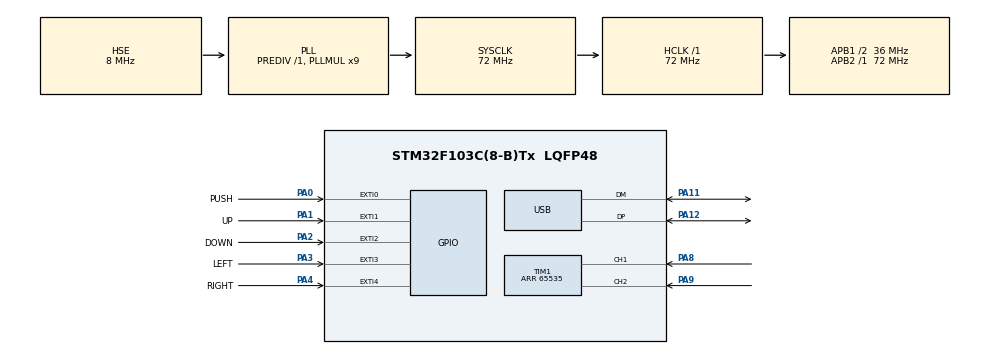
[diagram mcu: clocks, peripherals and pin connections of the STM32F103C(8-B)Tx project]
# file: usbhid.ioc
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Mcu.Family=STM32F1
Mcu.Name=STM32F103C(8-B)Tx
Mcu.Package=LQFP48
NVIC.EXTI0_IRQn=true\:0\:0\:false\:false\:true\:true\:true
NVIC.EXTI1_IRQn=true\:0\:0\:false\:false\:true\:true\:true
NVIC.EXTI2_IRQn=true\:0\:0\:false\:false\:true\:true\:true
NVIC.EXTI3_IRQn=true\:0\:0\:false\:false\:true\:true\:true
NVIC.EXTI4_IRQn=true\:0\:0\:false\:false\:true\:true\:true
NVIC.PriorityGroup=NVIC_PRIORITYGROUP_4
NVIC.USB_LP_CAN1_RX0_IRQn=true\:0\:0\:false\:false\:true\:false\:true
PA0-WKUP.GPIO_Label=PUSH
PA0-WKUP.GPIO_ModeDefaultEXTI=GPIO_MODE_IT_FALLING
PA0-WKUP.GPIO_PuPd=GPIO_PULLUP
PA0-WKUP.Signal=GPXTI0
PA1.GPIO_Label=UP
PA1.GPIO_ModeDefaultEXTI=GPIO_MODE_IT_FALLING
PA1.GPIO_PuPd=GPIO_PULLUP
PA1.Signal=GPXTI1
PA11.Mode=Device
PA11.Signal=USB_DM
PA12.Mode=Device
PA12.Signal=USB_DP
PA13.Mode=Serial_Wire
PA13.Signal=SYS_JTMS-SWDIO
PA14.Mode=Serial_Wire
PA14.Signal=SYS_JTCK-SWCLK
PA2.GPIO_Label=DOWN
PA2.GPIO_ModeDefaultEXTI=GPIO_MODE_IT_FALLING
PA2.GPIO_PuPd=GPIO_PULLUP
PA2.Signal=GPXTI2
PA3.GPIO_Label=LEFT
PA3.GPIO_ModeDefaultEXTI=GPIO_MODE_IT_FALLING
PA3.GPIO_PuPd=GPIO_PULLUP
PA3.Signal=GPXTI3
PA4.GPIO_Label=RIGHT
PA4.GPIO_ModeDefaultEXTI=GPIO_MODE_IT_FALLING
PA4.GPIO_PuPd=GPIO_PULLUP
PA4.Signal=GPXTI4
PA8.GPIO_PuPd=GPIO_PULLUP
PA8.Signal=S_TIM1_CH1
PA9.GPIO_PuPd=GPIO_PULLUP
PA9.Signal=S_TIM1_CH2
PC14-OSC32_IN.Mode=LSE-External-Oscillator
PC14-OSC32_IN.Signal=RCC_OSC32_IN
PC15-OSC32_OUT.Mode=LSE-External-Oscillator
PC15-OSC32_OUT.Signal=RCC_OSC32_OUT
PD0-OSC_IN.Mode=HSE-External-Oscillator
PD0-OSC_IN.Signal=RCC_OSC_IN
PD1-OSC_OUT.Mode=HSE-External-Oscillator
PD1-OSC_OUT.Signal=RCC_OSC_OUT
ProjectManager.HeapSize=0x200
ProjectManager.StackSize=0x400
ProjectManager.TargetToolchain=STM32CubeIDE
RCC.AHBFreq_Value=72000000
RCC.APB1CLKDivider=RCC_HCLK_DIV2
RCC.APB1Freq_Value=36000000
RCC.APB1TimFreq_Value=72000000
RCC.APB2Freq_Value=72000000
RCC.APB2TimFreq_Value=72000000
RCC.HCLKFreq_Value=72000000
RCC.PLLMUL=RCC_PLL_MUL9
RCC.SYSCLKFreq_VALUE=72000000
RCC.SYSCLKSource=RCC_SYSCLKSOURCE_PLLCLK
RCC.USBFreq_Value=48000000
RCC.USBPrescaler=RCC_USBCLKSOURCE_PLL_DIV1_5
SH.S_TIM1_CH1.0=TIM1_CH1,Encoder_Interface
SH.S_TIM1_CH2.0=TIM1_CH2,Encoder_Interface
TIM1.EncoderMode=TIM_ENCODERMODE_TI12
TIM1.IC1Filter=15
TIM1.IC1Polarity=TIM_ICPOLARITY_RISING
TIM1.IC2Filter=15
TIM1.IC2Polarity=TIM_ICPOLARITY_RISING
TIM1.Period=65535
USB_DEVICE.CLASS_NAME_FS=HID
USB_DEVICE.VirtualMode=Hid
USB_DEVICE.VirtualModeFS=Hid_FS
VP_USB_DEVICE_VS_USB_DEVICE_HID_FS.Mode=HID_FS
board=custom

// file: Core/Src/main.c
/* USER CODE BEGIN Header */
/**
  ******************************************************************************
  * @file           : main.c
  * @brief          : Main program body
  ******************************************************************************
  * @attention
  *
  * <h2><center>&copy; Copyright (c) 2020 STMicroelectronics.
  * All rights reserved.</center></h2>
  *
  * This software component is licensed by ST under BSD 3-Clause license,
  * the "License"; You may not use this file except in compliance with the
  * License. You may obtain a copy of the License at:
  *                        opensource.org/licenses/BSD-3-Clause
  *
  ******************************************************************************
  */
/* USER CODE END Header */

#include "main.h"
#include "usb_device.h"

/* USER CODE BEGIN Includes */
#include "usbd_hid.h"
/* USER CODE END Includes */

/* USER CODE BEGIN PD */
#define HID_REPORT_SIZE 3

#define BUTTON_DEBOUNCE_DELAY_MS 50

//BUTTON DEFINES http://www2.ece.rochester.edu/~parihar/pres/Report_MultiMedia-KB.pdf page11

#define MEDIA_MUTE 0
#define MEDIA_VOLUP 1
#define MEDIA_VOLDOWN 2
#define MEDIA_PLAY_PAUSE 3
#define MEDIA_STOP 4
#define MEDIA_PREV 5
#define MEDIA_NEXT 6
/* USER CODE END PD */

TIM_HandleTypeDef htim1;

/* USER CODE BEGIN PV */
extern USBD_HandleTypeDef hUsbDeviceFS;
uint8_t HID_report[HID_REPORT_SIZE] = {0x01,0,0}; //empty hid report

uint16_t encoderCount=32766; //half of timers resolution (16bit)
uint16_t lastEncoderCount=16383;

uint8_t buttonDebounceDelay=0; //delay between checking button states (button debouncing)
/* USER CODE END PV */

void SystemClock_Config(void);
static void MX_GPIO_Init(void);
static void MX_TIM1_Init(void);
/* USER CODE BEGIN PFP */
void HAL_GPIO_EXTI_Callback(uint16_t GPIO_Pin);

//void USB_Send_Button_Press(uint8_t button);
void CheckButtonsState();
void SetKeyPress(uint8_t key);

/* USER CODE END PFP */

int main(void)
{

  /* MCU Configuration--------------------------------------------------------*/

  /* Reset of all peripherals, Initializes the Flash interface and the Systick. */
  HAL_Init();

  /* Configure the system clock */
  SystemClock_Config();

  /* Initialize all configured peripherals */
  MX_GPIO_Init();
  MX_USB_DEVICE_Init();
  MX_TIM1_Init();
  /* USER CODE BEGIN 2 */

  HAL_TIM_Encoder_Start(&htim1, TIM_CHANNEL_ALL);
  __HAL_TIM_SET_COUNTER(&htim1,encoderCount);

  /* USER CODE END 2 */

  /* Infinite loop */
  /* USER CODE BEGIN WHILE */
  while (1)
  {
	  HID_report[1]=0; //0 means none of the buttons pressed

	  ////THIS CODE CAN SUPPORT ONLY 1 KEY AT A TIME, AND VERY SLOW REPEAT WITH LONG PRESS////

	  CheckButtonsState(); //check if any button is pressed and set appropriate bits in HID_report[1]
	  if(HID_report[1]!=0){
		  USBD_HID_SendReport(&hUsbDeviceFS, HID_report, HID_REPORT_SIZE); //send key-press and after 15 ms key-release reports
		  HAL_Delay(400);
		  HID_report[1]=0;
		  USBD_HID_SendReport(&hUsbDeviceFS, HID_report, HID_REPORT_SIZE);
		  HAL_Delay(15);
	  }

	  encoderCount=__HAL_TIM_GET_COUNTER(&htim1)/2; //get encoder absolute position
	  if(encoderCount!=lastEncoderCount){
		  if(encoderCount<lastEncoderCount){SetKeyPress(MEDIA_VOLDOWN);lastEncoderCount-=1;}  //set key press depending on encoder movement direction
		  else{SetKeyPress(MEDIA_VOLUP);lastEncoderCount+=1;}

		  USBD_HID_SendReport(&hUsbDeviceFS, HID_report, HID_REPORT_SIZE);
		  HAL_Delay(15);
		  HID_report[1]=0;
		  USBD_HID_SendReport(&hUsbDeviceFS, HID_report, HID_REPORT_SIZE);
		  HAL_Delay(15);
	  }

	  HAL_Delay(1);

	  /* USER CODE END WHILE */

  }
}

void SystemClock_Config(void)
{
  RCC_OscInitTypeDef RCC_OscInitStruct = {0};
  RCC_ClkInitTypeDef RCC_ClkInitStruct = {0};
  RCC_PeriphCLKInitTypeDef PeriphClkInit = {0};

  /** Initializes the CPU, AHB and APB busses clocks
  */
  RCC_OscInitStruct.OscillatorType = RCC_OSCILLATORTYPE_HSE;
  RCC_OscInitStruct.HSEState = RCC_HSE_ON;
  RCC_OscInitStruct.HSEPredivValue = RCC_HSE_PREDIV_DIV1;
  RCC_OscInitStruct.HSIState = RCC_HSI_ON;
  RCC_OscInitStruct.PLL.PLLState = RCC_PLL_ON;
  RCC_OscInitStruct.PLL.PLLSource = RCC_PLLSOURCE_HSE;
  RCC_OscInitStruct.PLL.PLLMUL = RCC_PLL_MUL9;
  if (HAL_RCC_OscConfig(&RCC_OscInitStruct) != HAL_OK)
  {
    Error_Handler();
  }
  /** Initializes the CPU, AHB and APB busses clocks
  */
  RCC_ClkInitStruct.ClockType = RCC_CLOCKTYPE_HCLK|RCC_CLOCKTYPE_SYSCLK
                              |RCC_CLOCKTYPE_PCLK1|RCC_CLOCKTYPE_PCLK2;
  RCC_ClkInitStruct.SYSCLKSource = RCC_SYSCLKSOURCE_PLLCLK;
  RCC_ClkInitStruct.AHBCLKDivider = RCC_SYSCLK_DIV1;
  RCC_ClkInitStruct.APB1CLKDivider = RCC_HCLK_DIV2;
  RCC_ClkInitStruct.APB2CLKDivider = RCC_HCLK_DIV1;

  if (HAL_RCC_ClockConfig(&RCC_ClkInitStruct, FLASH_LATENCY_2) != HAL_OK)
  {
    Error_Handler();
  }
  PeriphClkInit.PeriphClockSelection = RCC_PERIPHCLK_USB;
  PeriphClkInit.UsbClockSelection = RCC_USBCLKSOURCE_PLL_DIV1_5;
  if (HAL_RCCEx_PeriphCLKConfig(&PeriphClkInit) != HAL_OK)
  {
    Error_Handler();
  }
}

static void MX_TIM1_Init(void)
{

  TIM_Encoder_InitTypeDef sConfig = {0};
  TIM_MasterConfigTypeDef sMasterConfig = {0};

  htim1.Instance = TIM1;
  htim1.Init.Prescaler = 0;
  htim1.Init.CounterMode = TIM_COUNTERMODE_UP;
  htim1.Init.Period = 65535;
  htim1.Init.ClockDivision = TIM_CLOCKDIVISION_DIV1;
  htim1.Init.RepetitionCounter = 0;
  htim1.Init.AutoReloadPreload = TIM_AUTORELOAD_PRELOAD_DISABLE;
  sConfig.EncoderMode = TIM_ENCODERMODE_TI12;
  sConfig.IC1Polarity = TIM_ICPOLARITY_RISING;
  sConfig.IC1Selection = TIM_ICSELECTION_DIRECTTI;
  sConfig.IC1Prescaler = TIM_ICPSC_DIV1;
  sConfig.IC1Filter = 15;
  sConfig.IC2Polarity = TIM_ICPOLARITY_RISING;
  sConfig.IC2Selection = TIM_ICSELECTION_DIRECTTI;
  sConfig.IC2Prescaler = TIM_ICPSC_DIV1;
  sConfig.IC2Filter = 15;
  if (HAL_TIM_Encoder_Init(&htim1, &sConfig) != HAL_OK)
  {
    Error_Handler();
  }
  sMasterConfig.MasterOutputTrigger = TIM_TRGO_RESET;
  sMasterConfig.MasterSlaveMode = TIM_MASTERSLAVEMODE_DISABLE;
  if (HAL_TIMEx_MasterConfigSynchronization(&htim1, &sMasterConfig) != HAL_OK)
  {
    Error_Handler();
  }

}

static void MX_GPIO_Init(void)
{
  GPIO_InitTypeDef GPIO_InitStruct = {0};

  /* GPIO Ports Clock Enable */
  __HAL_RCC_GPIOC_CLK_ENABLE();
  __HAL_RCC_GPIOD_CLK_ENABLE();
  __HAL_RCC_GPIOA_CLK_ENABLE();

  /*Configure GPIO pins : PUSH_Pin UP_Pin DOWN_Pin LEFT_Pin
                           RIGHT_Pin */
  GPIO_InitStruct.Pin = PUSH_Pin|UP_Pin|DOWN_Pin|LEFT_Pin
                          |RIGHT_Pin;
  GPIO_InitStruct.Mode = GPIO_MODE_IT_FALLING;
  GPIO_InitStruct.Pull = GPIO_PULLUP;
  HAL_GPIO_Init(GPIOA, &GPIO_InitStruct);

  /* EXTI interrupt init*/
  HAL_NVIC_SetPriority(EXTI0_IRQn, 0, 0);
  HAL_NVIC_EnableIRQ(EXTI0_IRQn);

  HAL_NVIC_SetPriority(EXTI1_IRQn, 0, 0);
  HAL_NVIC_EnableIRQ(EXTI1_IRQn);

  HAL_NVIC_SetPriority(EXTI2_IRQn, 0, 0);
  HAL_NVIC_EnableIRQ(EXTI2_IRQn);

  HAL_NVIC_SetPriority(EXTI3_IRQn, 0, 0);
  HAL_NVIC_EnableIRQ(EXTI3_IRQn);

  HAL_NVIC_SetPriority(EXTI4_IRQn, 0, 0);
  HAL_NVIC_EnableIRQ(EXTI4_IRQn);

}

/* USER CODE BEGIN 4 */
void HAL_GPIO_EXTI_Callback(uint16_t GPIO_Pin){

}
/*
void USB_Send_Button_Press(uint8_t button){
	HID_report[1] |= 1<<button; // media next http://www2.ece.rochester.edu/~parihar/pres/Report_MultiMedia-KB.pdf page11
	USBD_HID_SendReport(&hUsbDeviceFS, HID_report, HID_REPORT_SIZE);
	HAL_Delay(15);
	HID_report[1] &= ~(1<< button);
	USBD_HID_SendReport(&hUsbDeviceFS, HID_report, HID_REPORT_SIZE);
	HAL_Delay(15);
}*/
void SetKeyPress(uint8_t key){
	HID_report[1] |= 1<<key;
}

void SetKeyRelease(uint8_t key){
	HID_report[1] &= ~(1<< key);
}
void CheckButtonsState(){
	if(!HAL_GPIO_ReadPin(PUSH_GPIO_Port, PUSH_Pin))	{ 							//push input is low when whichever button is pressed
		uint8_t isPushPressed=1;
		if(!HAL_GPIO_ReadPin(RIGHT_GPIO_Port, RIGHT_Pin))	{SetKeyPress(MEDIA_NEXT); isPushPressed=0; }
		if(!HAL_GPIO_ReadPin(LEFT_GPIO_Port, LEFT_Pin))		{SetKeyPress(MEDIA_PREV); isPushPressed=0; }
		if(!HAL_GPIO_ReadPin(UP_GPIO_Port, UP_Pin))			{SetKeyPress(MEDIA_MUTE); isPushPressed=0; }
		if(!HAL_GPIO_ReadPin(DOWN_GPIO_Port, DOWN_Pin))		{SetKeyPress(MEDIA_STOP); isPushPressed=0; }

		if(isPushPressed==1){SetKeyPress(MEDIA_PLAY_PAUSE);}
	}
}

/* USER CODE END 4 */

void Error_Handler(void)
{
}

/************************ (C) COPYRIGHT STMicroelectronics *****END OF FILE****/
